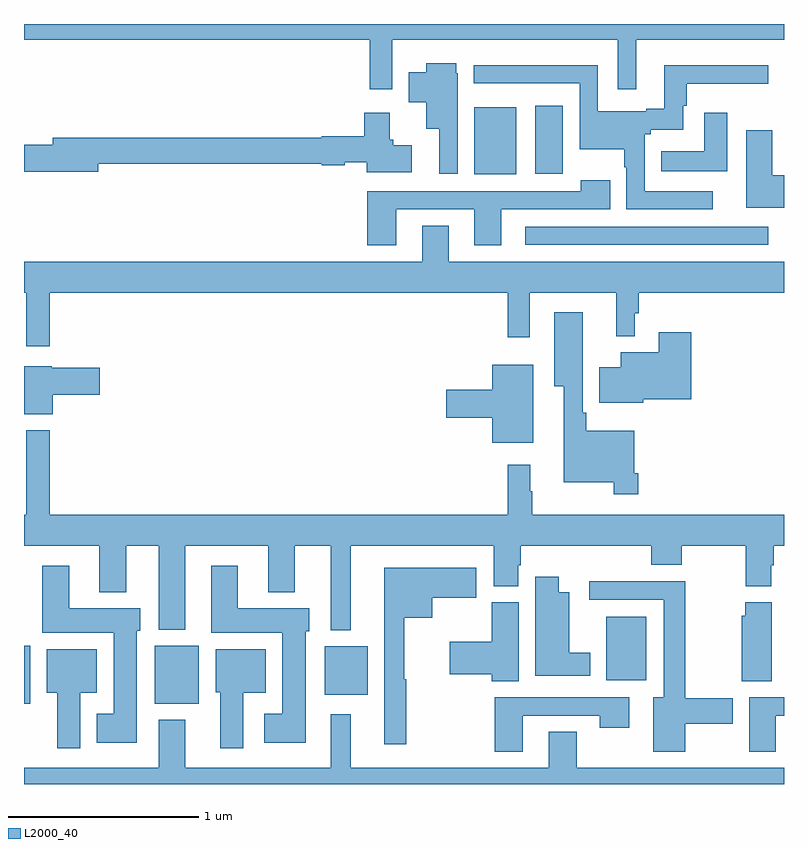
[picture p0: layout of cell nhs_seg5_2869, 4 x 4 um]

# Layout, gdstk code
import gdstk
lib = gdstk.Library(unit=1e-6, precision=1e-09)
def R(c, l, rs):  # rectangles x0, y0, x1, y1
    for r in rs: c.add(gdstk.rectangle(r[:2], r[2:], *l))
def P(c, l, *ps):  # polygons
    for p in ps: c.add(gdstk.Polygon(p, *l))
L2000_40 = (2000, 40)

nhs_seg5_2869 = lib.new_cell('nhs_seg5_2869')
R(nhs_seg5_2869, L2000_40, [(277,897.221,277.033,897.526), (277.688,897.221,277.921,897.526), (278.582,897.269,278.809,897.523), (280.064,897.344,280.276,897.679), (279.639,899.637,280.918,899.733), (279.371,900.008,279.592,900.361), (279.692,900.012,279.835,900.37)])
P(nhs_seg5_2869, L2000_40, [(278.938,900.716),(280.125,900.716),(280.125,900.456),(280.222,900.456),(280.222,900.716),(281,900.716),(281,900.799),(277,900.799),(277,900.716),(278.821,900.716),(278.821,900.456),(278.938,900.456)],
  [(279.282,900.54),(279.274,900.54),(279.274,900.592),(279.116,900.592),(279.116,900.544),(279.026,900.544),(279.026,900.386),(279.116,900.386),(279.116,900.248),(279.185,900.248),(279.185,900.012),(279.282,900.012)],
  [(280.624,899.919),(280.266,899.919),(280.266,900.218),(280.299,900.218),(280.299,900.243),(280.471,900.243),(280.471,900.368),(280.489,900.368),(280.489,900.485),(280.918,900.485),(280.918,900.583),(280.37,900.583),(280.37,900.352),(280.274,900.352),(280.274,900.339),(280.02,900.339),(280.02,900.583),(279.368,900.583),(279.368,900.486),(279.924,900.486),(279.924,900.14),(280.158,900.14),(280.158,900.044),(280.17,900.044),(280.17,899.823),(280.624,899.823)],
  [(280.702,900.331),(280.58,900.331),(280.58,900.13),(280.353,900.13),(280.353,900.023),(280.702,900.023)],
  [(279.04,900.16),(278.944,900.16),(278.944,900.189),(278.926,900.189),(278.926,900.331),(278.792,900.331),(278.792,900.208),(278.568,900.208),(278.568,900.2),(277.151,900.2),(277.151,900.164),(277.002,900.164),(277.002,900.022),(277.39,900.022),(277.39,900.064),(278.568,900.064),(278.568,900.056),(278.688,900.056),(278.688,900.071),(278.804,900.071),(278.804,900.02),(279.04,900.02)],
  [(281,900.002),(280.937,900.002),(280.937,900.241),(280.802,900.241),(280.802,899.831),(281,899.831)],
  [(278.959,899.823),(279.371,899.823),(279.371,899.634),(279.511,899.634),(279.511,899.823),(280.085,899.823),(280.085,899.977),(279.929,899.977),(279.929,899.919),(278.807,899.919),(278.807,899.634),(278.959,899.634)],
  [(277.135,899.384),(279.547,899.384),(279.547,899.151),(279.663,899.151),(279.663,899.384),(280.118,899.384),(280.118,899.156),(280.215,899.156),(280.215,899.277),(280.235,899.277),(280.235,899.384),(281,899.384),(281,899.548),(279.235,899.548),(279.235,899.738),(279.095,899.738),(279.095,899.548),(277,899.548),(277,899.384),(277.013,899.384),(277.013,899.103),(277.135,899.103)],
  [(280.232,898.435),(280.212,898.435),(280.212,898.657),(279.959,898.657),(279.959,898.753),(279.94,898.753),(279.94,899.281),(279.791,899.281),(279.791,898.892),(279.842,898.892),(279.842,898.388),(280.104,898.388),(280.104,898.323),(280.232,898.323)],
  [(280.26,898.823),(280.511,898.823),(280.511,899.176),(280.34,899.176),(280.34,899.071),(280.142,899.071),(280.142,898.993),(280.028,898.993),(280.028,898.805),(280.26,898.805)],
  [(279.679,899.005),(279.464,899.005),(279.464,898.874),(279.222,898.874),(279.222,898.727),(279.464,898.727),(279.464,898.595),(279.679,898.595)],
  [(277.15,898.847),(277.399,898.847),(277.399,898.989),(277.146,898.989),(277.146,898.999),(277,898.999),(277,898.745),(277.15,898.745)],
  [(278.719,898.052),(279.473,898.052),(279.473,897.841),(279.601,897.841),(279.601,897.951),(279.614,897.951),(279.614,898.052),(280.301,898.052),(280.301,897.953),(280.461,897.953),(280.461,898.052),(280.798,898.052),(280.798,897.841),(280.933,897.841),(280.933,897.951),(280.946,897.951),(280.946,898.052),(281,898.052),(281,898.216),(279.676,898.216),(279.676,898.34),(279.664,898.34),(279.664,898.48),(279.547,898.48),(279.547,898.216),(277.135,898.216),(277.135,898.66),(277.013,898.66),(277.013,898.216),(277,898.216),(277,898.052),(277.397,898.052),(277.397,897.809),(277.537,897.809),(277.537,898.052),(277.709,898.052),(277.709,897.611),(277.849,897.611),(277.849,898.052),(278.285,898.052),(278.285,897.809),(278.425,897.809),(278.425,898.052),(278.615,898.052),(278.615,897.608),(278.719,897.608)],
  [(277.594,897.606),(277.612,897.606),(277.612,897.724),(277.237,897.724),(277.237,897.949),(277.097,897.949),(277.097,897.596),(277.472,897.596),(277.472,897.169),(277.382,897.169),(277.382,897.017),(277.594,897.017)],
  [(278.482,897.603),(278.5,897.603),(278.5,897.724),(278.125,897.724),(278.125,897.949),(277.985,897.949),(277.985,897.596),(278.36,897.596),(278.36,897.169),(278.265,897.169),(278.265,897.017),(278.482,897.017)],
  [(279.011,897.35),(279.001,897.35),(279.001,897.674),(279.148,897.674),(279.148,897.779),(279.379,897.779),(279.379,897.937),(278.897,897.937),(278.897,897.009),(279.011,897.009)],
  [(279.979,897.49),(279.871,897.49),(279.871,897.808),(279.814,897.808),(279.814,897.889),(279.692,897.889),(279.692,897.368),(279.979,897.368)],
  [(280.48,897.116),(280.729,897.116),(280.729,897.251),(280.48,897.251),(280.48,897.866),(279.975,897.866),(279.975,897.768),(280.367,897.768),(280.367,897.256),(280.313,897.256),(280.313,896.97),(280.48,896.97)],
  [(280.936,897.756),(280.795,897.756),(280.795,897.684),(280.778,897.684),(280.778,897.34),(280.936,897.34)],
  [(279.604,897.756),(279.463,897.756),(279.463,897.547),(279.24,897.547),(279.24,897.377),(279.463,897.377),(279.463,897.34),(279.604,897.34)],
  [(277.297,897.278),(277.384,897.278),(277.384,897.508),(277.121,897.508),(277.121,897.278),(277.175,897.278),(277.175,896.988),(277.297,896.988)],
  [(278.155,897.278),(278.272,897.278),(278.272,897.508),(278.009,897.508),(278.009,897.282),(278.033,897.282),(278.033,896.988),(278.155,896.988)],
  [(280.957,897.159),(281,897.159),(281,897.255),(280.817,897.255),(280.817,896.97),(280.957,896.97)],
  [(279.625,897.159),(280.03,897.159),(280.03,897.096),(280.186,897.096),(280.186,897.255),(279.478,897.255),(279.478,896.97),(279.625,896.97)],
  [(281,896.884),(279.909,896.884),(279.909,897.074),(279.761,897.074),(279.761,896.884),(278.719,896.884),(278.719,897.166),(278.615,897.166),(278.615,896.884),(277.849,896.884),(277.849,897.136),(277.709,897.136),(277.709,896.884),(277,896.884),(277,896.799),(281,896.799)])

lib.write_gds('nhs_seg5_2869.gds')
